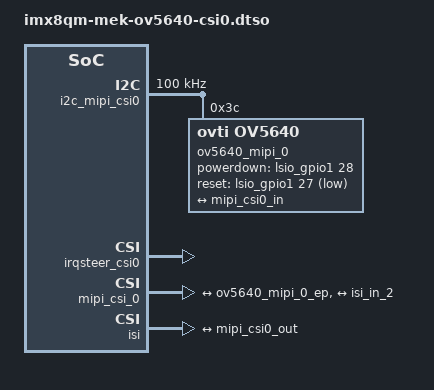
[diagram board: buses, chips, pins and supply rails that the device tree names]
// SPDX-License-Identifier: (GPL-2.0+ OR MIT)
/*
 * Copyright 2024 NXP
 */
/dts-v1/;
/plugin/;

#include <dt-bindings/gpio/gpio.h>

&i2c_mipi_csi0 {
	#address-cells = <1>;
	#size-cells = <0>;
	pinctrl-names = "default";
	pinctrl-0 = <&pinctrl_i2c_mipi_csi0>;
	clock-frequency = <100000>;
	status = "okay";

	ov5640_mipi_0: ov5640_mipi@3c {
		compatible = "ovti,ov5640";
		reg = <0x3c>;
		pinctrl-names = "default";
		pinctrl-0 = <&pinctrl_mipi_csi0>;
		clocks = <&xtal24m>;
		clock-names = "xclk";
		powerdown-gpios = <&lsio_gpio1 28 GPIO_ACTIVE_HIGH>;
		reset-gpios = <&lsio_gpio1 27 GPIO_ACTIVE_LOW>;
		status = "okay";

		port {
			ov5640_mipi_0_ep: endpoint {
				remote-endpoint = <&mipi_csi0_in>;
				data-lanes = <1 2>;
				clocks-lanes = <0>;
			};
		};
	};
};

&irqsteer_csi0 {
	status = "okay";
};

&mipi_csi_0 {
	status = "okay";

	ports {
		#address-cells = <1>;
		#size-cells = <0>;

		port@0 {
			reg = <0>;

			mipi_csi0_in: endpoint {
				remote-endpoint = <&ov5640_mipi_0_ep>;
				data-lanes = <1 2>;
			};
		};

		port@1 {
			reg = <1>;

			mipi_csi0_out: endpoint {
				remote-endpoint = <&isi_in_2>;
			};
		};
	};
};

&isi {
	status = "okay";

	ports {
		#address-cells = <1>;
		#size-cells = <0>;

		port@2 {
			reg = <2>;

			isi_in_2: endpoint {
				remote-endpoint = <&mipi_csi0_out>;
			};
		};
	};
};
